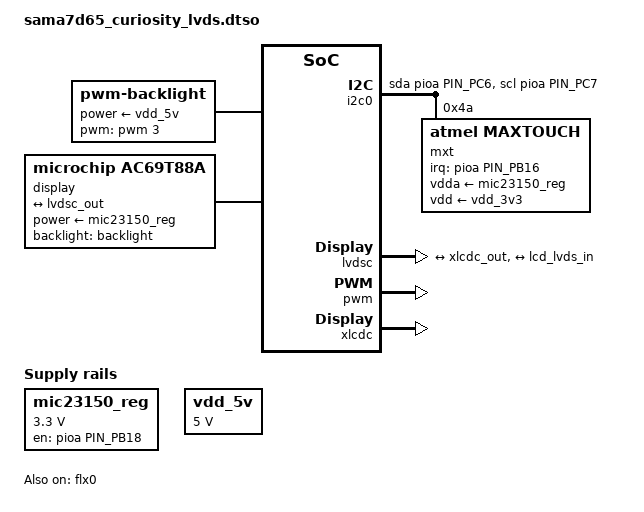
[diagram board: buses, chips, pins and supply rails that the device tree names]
// SPDX-License-Identifier: (GPL-2.0+ OR MIT)
/*
 *  Device Tree overlay for SAMA7D65-CURIOSITY board
 *  in order to use LVDS displays
 *
 *  Copyright (c) 2024 Microchip Technology Inc. and its subsidiaries
 *
 *  Author: Romain Sioen <romain.sioen@microchip.com>
 *
 */
/dts-v1/;
/plugin/;
#include "sama7d65-pinfunc.h"
#include <dt-bindings/mfd/atmel-flexcom.h>
#include <dt-bindings/clock/at91.h>
#include <dt-bindings/pinctrl/at91.h>
#include <dt-bindings/gpio/gpio.h>

&{/}
{
	model = "Microchip SAMA7D65 Curiosity LVDS";

	backlight: backlight {
		compatible = "pwm-backlight";
		pwms = <&pwm 3 1000000 0>;
		brightness-levels = <0 4 8 16 32 64 128 255>;
		default-brightness-level = <7>;
		power-supply = <&vdd_5v>;
	};

	display {
		/* LVDS WVGA Display panel Microchip AC69T88A */
		compatible = "microchip,ac69t88a", "simple-panel";
		power-supply = <&mic23150_reg>;
		backlight = <&backlight>;
		width-mm = <108>;
		height-mm = <65>;
		status = "okay";

		port {
			lcd_lvds_in: endpoint {
				remote-endpoint = <&lvdsc_out>;
			};
		};
	};

	mic23150_reg: mic23150-regulator {
		compatible = "regulator-fixed";
		regulator-name = "panel-power-supply";
		regulator-min-microvolt = <3300000>;
		regulator-max-microvolt = <3300000>;
		gpios = <&pioa PIN_PB18 GPIO_ACTIVE_HIGH>;
		enable-active-high;
	};

	vdd_5v: fixed-regulator-vdd-5v {
 		compatible = "regulator-fixed";
		regulator-name = "VDD_5V";
		regulator-min-microvolt = <5000000>;
		regulator-max-microvolt = <5000000>;
		regulator-always-on;
	};

};

&flx0 {
	atmel,flexcom-mode = <ATMEL_FLEXCOM_MODE_TWI>;
	status = "okay";
};

&i2c0 {
	#address-cells = <1>;
	#size-cells = <0>;
	pinctrl-names = "default", "gpio";
	pinctrl-0 = <&pinctrl_i2c0_default>;
	pinctrl-1 = <&pinctrl_i2c0_gpio>;
	sda-gpios = <&pioa PIN_PC6 GPIO_ACTIVE_HIGH>;
	scl-gpios = <&pioa PIN_PC7 (GPIO_ACTIVE_HIGH | GPIO_OPEN_DRAIN)>;
	i2c-analog-filter;
	i2c-digital-filter;
	i2c-digital-filter-width-ns = <35>;
	status = "okay";

	mxt: atmel-mxt-ts@4a {
		compatible = "atmel,maxtouch";
		reg = <0x4a>;
		interrupt-parent = <&pioa>;
		interrupts = <PIN_PB16 0x0>;
		pinctrl-names = "default";
		pinctrl-0 = <&pinctrl_mxt_irq>;
		vdda-supply = <&mic23150_reg>;
		vdd-supply = <&vdd_3v3>;
	};
};

&lvdsc {
	#address-cells = <1>;
	#size-cells = <0>;
	status = "okay";

	port@0 {
		reg = <0>;

		lvdsc_in: endpoint {
			remote-endpoint = <&xlcdc_out>;
		};
	};

	port@1 {
		reg = <1>;

		lvdsc_out: endpoint {
			remote-endpoint = <&lcd_lvds_in>;
		};
	};
};

&pioa {
	pinctrl_i2c0_default: i2c0-default {
		pinmux = <PIN_PC7__FLEXCOM0_IO0>,
			<PIN_PC6__FLEXCOM0_IO1>;
		bias-pull-up;
	};

	pinctrl_i2c0_gpio: i2c0-gpio{
		pinmux = <PIN_PC7__GPIO>,
			 <PIN_PC6__GPIO>;
		bias-disable;
	};

	pinctrl_lcd_pwm: lcd-pwm {
		pinmux = <PIN_PB14__PWMH3>;
		bias-disable;
	};

	pinctrl_mxt_irq: pinctrl-mxt-irq {
		pinmux = <PIN_PB16__GPIO>;
		bias-pull-up;
		input-debounce = <1>;
	};
};

&pwm {
	pinctrl-names = "default";
	pinctrl-0 = <&pinctrl_lcd_pwm>;
	status = "okay";
};

&xlcdc {
	clocks = <&pmc PMC_TYPE_PERIPHERAL 56>, <&pmc PMC_TYPE_CORE PMC_LVDSPLL>, <&clk32k 1>;
	clock-names = "periph_clk", "lvds_pll_clk", "slow_clk";
	status = "okay";

	hlcdc-display-controller {
		port@0 {
			#address-cells = <1>;
			#size-cells = <0>;
			xlcdc_out: endpoint@0 {
				reg = <0>;
				remote-endpoint = <&lvdsc_in>;
			};
		};
	};
};
